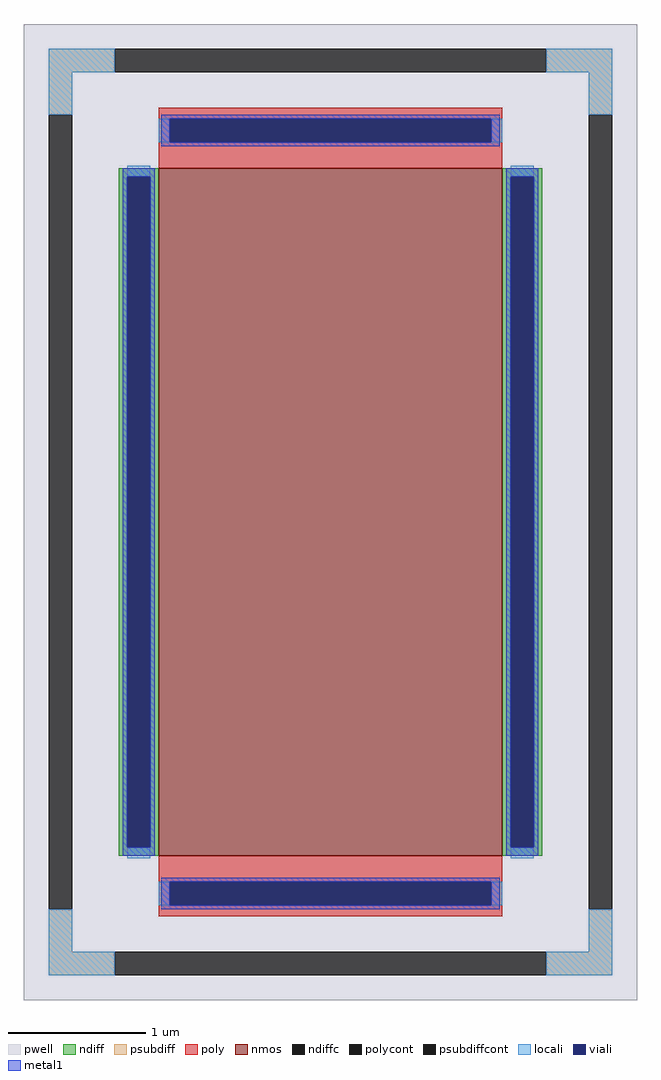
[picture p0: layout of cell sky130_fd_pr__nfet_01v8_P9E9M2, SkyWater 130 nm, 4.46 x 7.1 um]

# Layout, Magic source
magic
tech sky130A
<< pwell >>
rect -223 -355 223 355
<< nmos >>
rect -125 -250 125 250
<< ndiff >>
rect -154 244 -125 250
rect -154 -244 -148 244
rect -131 -244 -125 244
rect -154 -250 -125 -244
rect 125 244 154 250
rect 125 -244 131 244
rect 148 -244 154 244
rect 125 -250 154 -244
<< ndiffc >>
rect -148 -244 -131 244
rect 131 -244 148 244
<< psubdiff >>
rect -205 320 -157 337
rect 157 320 205 337
rect -205 289 -188 320
rect 188 289 205 320
rect -205 -320 -188 -289
rect 188 -320 205 -289
rect -205 -337 -157 -320
rect 157 -337 205 -320
<< psubdiffcont >>
rect -157 320 157 337
rect -205 -289 -188 289
rect 188 -289 205 289
rect -157 -337 157 -320
<< poly >>
rect -125 286 125 294
rect -125 269 -117 286
rect 117 269 125 286
rect -125 250 125 269
rect -125 -269 125 -250
rect -125 -286 -117 -269
rect 117 -286 125 -269
rect -125 -294 125 -286
<< polycont >>
rect -117 269 117 286
rect -117 -286 117 -269
<< locali >>
rect -205 320 -157 337
rect 157 320 205 337
rect -205 289 -188 320
rect 188 289 205 320
rect -125 269 -117 286
rect 117 269 125 286
rect -148 244 -131 252
rect -148 -252 -131 -244
rect 131 244 148 252
rect 131 -252 148 -244
rect -125 -286 -117 -269
rect 117 -286 125 -269
rect -205 -320 -188 -289
rect 188 -320 205 -289
rect -205 -337 -157 -320
rect 157 -337 205 -320
<< viali >>
rect -117 269 117 286
rect -148 -244 -131 244
rect 131 -244 148 244
rect -117 -286 117 -269
<< metal1 >>
rect -123 286 123 289
rect -123 269 -117 286
rect 117 269 123 286
rect -123 266 123 269
rect -151 244 -128 250
rect -151 -244 -148 244
rect -131 -244 -128 244
rect -151 -250 -128 -244
rect 128 244 151 250
rect 128 -244 131 244
rect 148 -244 151 244
rect 128 -250 151 -244
rect -123 -269 123 -266
rect -123 -286 -117 -269
rect 117 -286 123 -269
rect -123 -289 123 -286
<< properties >>
string FIXED_BBOX -196 -328 196 328
string gencell sky130_fd_pr__nfet_01v8
string library sky130
string parameters w 5.0 l 2.5 m 1 nf 1 diffcov 100 polycov 100 guard 1 glc 1 grc 1 gtc 1 gbc 1 tbcov 100 rlcov 100 topc 1 botc 1 poverlap 0 doverlap 1 lmin 0.15 wmin 0.42 class mosfet compatible {sky130_fd_pr__nfet_01v8 sky130_fd_pr__nfet_01v8_lvt  sky130_fd_bs_flash__special_sonosfet_star  sky130_fd_pr__nfet_g5v0d10v5 sky130_fd_pr__nfet_05v0_nvt  sky130_fd_pr__nfet_03v3_nvt} full_metal 1 viasrc 100 viadrn 100 viagate 100 viagb 0 viagr 0 viagl 0 viagt 0 ad {int((nf+1)/2) * W/nf * 0.29} as {int((nf+2)/2) * W/nf * 0.29} pd {2*int((nf+1)/2) * (W/nf + 0.29)} ps {2*int((nf+2)/2) * (W/nf + 0.29)} nrd {0.29 / W} nrs {0.29 / W} sa 0 sb 0 sd 0 mult 1
<< end >>
